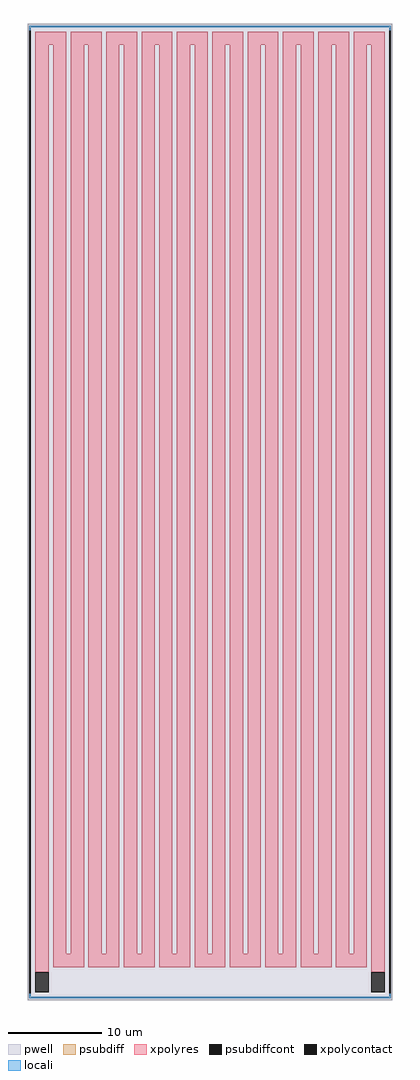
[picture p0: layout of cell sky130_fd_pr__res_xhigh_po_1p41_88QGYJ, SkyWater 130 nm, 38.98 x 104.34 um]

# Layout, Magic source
magic
tech sky130A
<< pwell >>
rect -1949 -5217 1949 5217
<< psubdiff >>
rect -1931 5182 1931 5199
rect -1931 5151 -1914 5182
rect 1914 5151 1931 5182
rect -1931 -5182 -1914 -5151
rect 1914 -5182 1931 -5151
rect -1931 -5199 1931 -5182
<< psubdiffcont >>
rect -1931 -5151 -1914 5151
rect 1914 -5151 1931 5151
<< xpolycontact >>
rect -1866 -5134 -1725 -4918
rect 1725 -5134 1866 -4918
<< xpolyres >>
rect -1866 4993 -1536 5134
rect -1866 -4918 -1725 4993
rect -1677 -4725 -1536 4993
rect -1488 4993 -1158 5134
rect -1488 -4725 -1347 4993
rect -1677 -4866 -1347 -4725
rect -1299 -4725 -1158 4993
rect -1110 4993 -780 5134
rect -1110 -4725 -969 4993
rect -1299 -4866 -969 -4725
rect -921 -4725 -780 4993
rect -732 4993 -402 5134
rect -732 -4725 -591 4993
rect -921 -4866 -591 -4725
rect -543 -4725 -402 4993
rect -354 4993 -24 5134
rect -354 -4725 -213 4993
rect -543 -4866 -213 -4725
rect -165 -4725 -24 4993
rect 24 4993 354 5134
rect 24 -4725 165 4993
rect -165 -4866 165 -4725
rect 213 -4725 354 4993
rect 402 4993 732 5134
rect 402 -4725 543 4993
rect 213 -4866 543 -4725
rect 591 -4725 732 4993
rect 780 4993 1110 5134
rect 780 -4725 921 4993
rect 591 -4866 921 -4725
rect 969 -4725 1110 4993
rect 1158 4993 1488 5134
rect 1158 -4725 1299 4993
rect 969 -4866 1299 -4725
rect 1347 -4725 1488 4993
rect 1536 4993 1866 5134
rect 1536 -4725 1677 4993
rect 1347 -4866 1677 -4725
rect 1725 -4918 1866 4993
<< locali >>
rect -1931 5182 1931 5199
rect -1931 5151 -1914 5182
rect 1914 5151 1931 5182
rect -1931 -5182 -1914 -5151
rect 1914 -5182 1931 -5151
rect -1931 -5199 1931 -5182
<< properties >>
string FIXED_BBOX -1922 -5190 1922 5190
string gencell sky130_fd_pr__res_xhigh_po_1p41
string library sky130
string parameters w 1.41 l 100.0 m 1 nx 20 wmin 1.410 lmin 0.50 rho 2000 val 2.875meg dummy 0 dw 0.0 term 188.2 sterm 0.0 caplen 0 wmax 1.410 guard 1 glc 1 grc 1 gtc 0 gbc 0 compatible {sky130_fd_pr__res_xhigh_po_0p35  sky130_fd_pr__res_xhigh_po_0p69 sky130_fd_pr__res_xhigh_po_1p41  sky130_fd_pr__res_xhigh_po_2p85 sky130_fd_pr__res_xhigh_po_5p73} snake 1 full_metal 1 n_guard 0 hv_guard 0 vias 1 viagb 0 viagt 0 viagl 0 viagr 0
<< end >>
